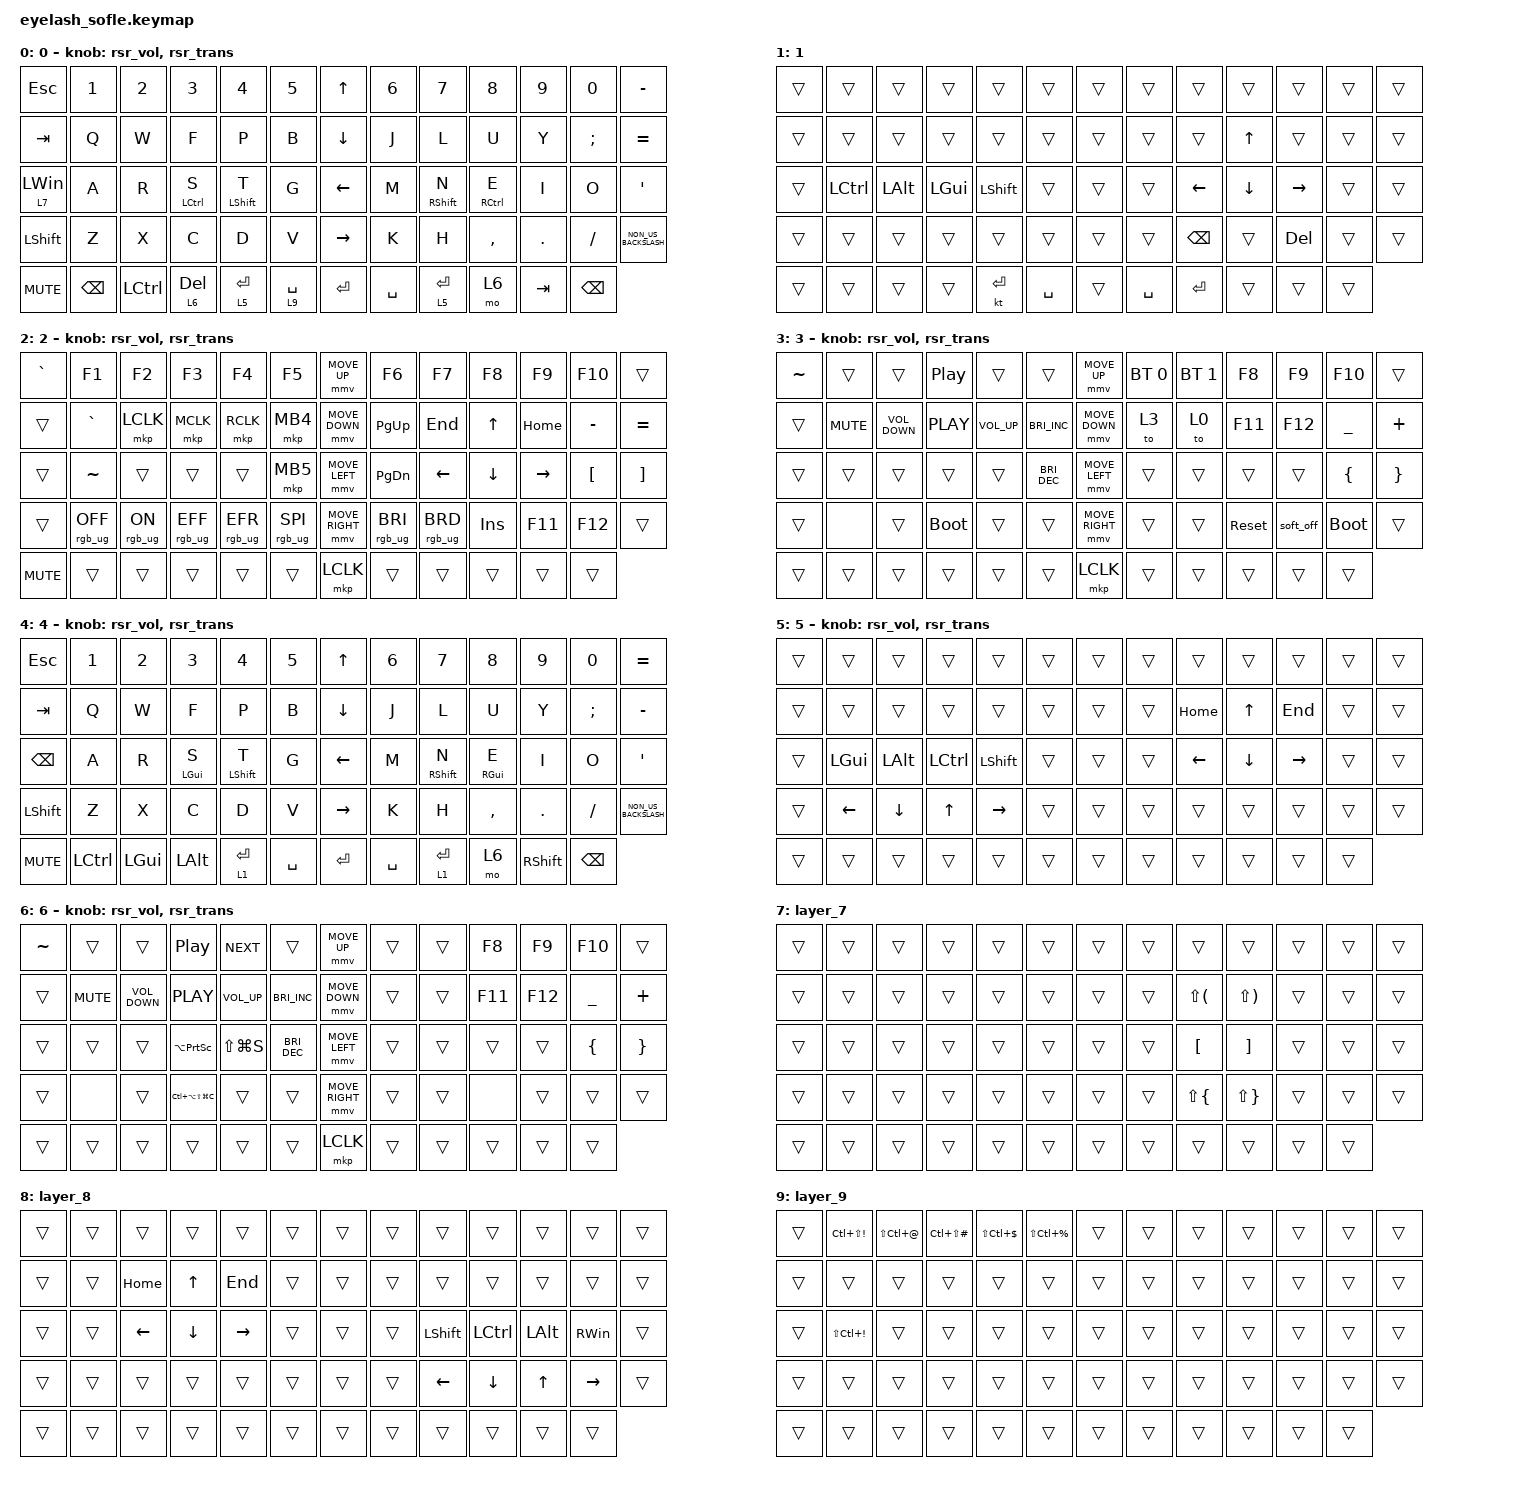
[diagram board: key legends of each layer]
#define ZMK_POINTING_DEFAULT_MOVE_VAL 1200  // 600
#define ZMK_POINTING_DEFAULT_SCRL_VAL 25   // 10

#include <input/processors.dtsi>
#include <zephyr/dt-bindings/input/input-event-codes.h>
#include <behaviors/runtime-sensor-rotate.dtsi>
#include <behaviors.dtsi>
#include <dt-bindings/zmk/bt.h>
#include <dt-bindings/zmk/keys.h>
#include <dt-bindings/zmk/pointing.h>
#include <dt-bindings/zmk/rgb.h>

&mmv_input_listener { input-processors = <&zip_xy_scaler 2 1>; };

&msc_input_listener { input-processors = <&zip_scroll_scaler 2 1>; };

&msc {
    acceleration-exponent = <1>;      // 0
    time-to-max-speed-ms = <100>;       // 300
    delay-ms = <0>;                   // 0
};

&mmv {
    time-to-max-speed-ms = <500>;
    acceleration-exponent = <1>;
    trigger-period-ms = <16>;
};

&soft_off { hold-time-ms = <2000>; };

/ {
    scroll_encoder: scroll_encoder {
        compatible = "zmk,behavior-sensor-rotate";
        #sensor-binding-cells = <0>;
        bindings = <&msc SCRL_DOWN>, <&msc SCRL_UP>;

        tap-ms = <100>;
    };

    behaviors {
        /* Timeless Left-hand Home Row Mods */

        hml: home_row_mods_left {
            compatible = "zmk,behavior-hold-tap";
            #binding-cells = <2>;
            flavor = "balanced";
            tapping-term-ms = <280>;
            quick-tap-ms = <175>;
            require-prior-idle-ms = <125>;
            bindings = <&kp>, <&kp>;

            hold-trigger-key-positions = <
                6 7 8 9 10 11 12
                19 20 21 22 23 24 25
                32 33 34 35 36 37 38
                45 46 47 48 49 50 51
                56 57 58 59 60 61
            >;

            hold-trigger-on-release;
        };

        /* Timeless Right-hand Home Row Mods */

        hmr: home_row_mods_right {
            compatible = "zmk,behavior-hold-tap";
            #binding-cells = <2>;
            flavor = "balanced";
            tapping-term-ms = <280>;
            quick-tap-ms = <175>;
            require-prior-idle-ms = <125>;
            bindings = <&kp>, <&kp>;

            hold-trigger-key-positions = <
                0 1 2 3 4 5
                13 14 15 16 17 18
                26 27 28 29 30 31
                39 40 41 42 43 44
                52 53 54 55
            >;

            hold-trigger-on-release;
        };

        rsr_vol: rsr_vol {
            compatible = "zmk,behavior-runtime-sensor-rotate";
            #sensor-binding-cells = <0>;
            tap-ms = <5>;
            cw-binding = <&kp C_VOL_UP>;
            ccw-binding = <&kp C_VOL_DN>;
        };

        rsr_trans: rsr_trans {
            compatible = "zmk,behavior-runtime-sensor-rotate";
            #sensor-binding-cells = <0>;
            tap-ms = <0>;
        };
    };

    combos {
        compatible = "zmk,combos";

        down {
            bindings = <&kp DOWN>;
            key-positions = <62 63>;
        };

        windowSwap {
            bindings = <&kp RC(LEFT_ARROW)>;
            key-positions = <15 14>;
        };

        windowSwapRight {
            bindings = <&kp RC(RIGHT_ARROW)>;
            key-positions = <17 16>;
        };

        uppler {
            bindings = <&kp UP_ARROW>;
            key-positions = <48 49>;
        };

        lefty {
            bindings = <&kp LEFT_ARROW>;
            key-positions = <47 48>;
        };

        righty {
            bindings = <&kp RIGHT_ARROW>;
            key-positions = <49 50>;
        };

        btsave {
            bindings = <&bt BT_SEL 0>;
            key-positions = <5 7>;
        };

        bt1 {
            bindings = <&bt BT_SEL 1>;
            key-positions = <18 20>;
        };

        macmode {
            bindings = <&macmode>;
            key-positions = <11 12>;
        };

        windowsmode {
            bindings = <&windowsmode>;
            key-positions = <24 25>;
        };
    };

    macros {
        macmode: macmode {
            compatible = "zmk,behavior-macro";
            #binding-cells = <0>;
            bindings = <&bt BT_SEL 0 &to 3>;
            label = "MACMODE";
        };

        windowsmode: windowsmode {
            compatible = "zmk,behavior-macro";
            #binding-cells = <0>;
            bindings = <&bt BT_SEL 1 &to 0>;
            label = "WINDOWSMODE";
        };
    };

    keymap {
        compatible = "zmk,keymap";

        layer_0 {
            display-name = "0";
            bindings = <
&kp ESC         &kp N1         &kp N2            &kp N3        &kp N4         &kp N5         &kp UP_ARROW     &kp N6     &kp N7         &kp N8        &kp N9   &kp N0         &kp MINUS
&kp TAB         &kp Q          &kp W             &kp F         &kp P          &kp B          &kp DOWN_ARROW   &kp J      &kp L          &kp U         &kp Y    &kp SEMICOLON  &kp EQUAL
&lt 7 LEFT_WIN  &kp A          &kp R             &hml LCTRL S  &hml LSHIFT T  &kp G          &kp LEFT_ARROW   &kp M      &hmr RSHIFT N  &hmr RCTRL E  &kp I    &kp O          &kp APOS
&kp LSHFT       &kp Z          &kp X             &kp C         &kp D          &kp V          &kp RIGHT_ARROW  &kp K      &kp H          &kp COMMA     &kp DOT  &kp FSLH       &kp NON_US_BACKSLASH
&kp C_MUTE      &kp BACKSPACE  &kp LEFT_CONTROL  &lt 6 DELETE  &lt 5 ENTER    &lt 9 SPACE    &kp ENTER        &kp SPACE  &lt 5 ENTER    &mo 6         &kp TAB  &kp BACKSPACE
            >;

            sensor-bindings = <&rsr_vol>, <&rsr_trans>;
        };

        layer_1 {
            bindings = <
&trans  &trans            &trans        &trans        &trans          &trans       &trans  &trans     &trans          &trans          &trans           &trans  &trans
&trans  &trans            &trans        &trans        &trans          &trans       &trans  &trans     &trans          &kp UP_ARROW    &trans           &trans  &trans
&trans  &kp LEFT_CONTROL  &kp LEFT_ALT  &kp LEFT_GUI  &kp LEFT_SHIFT  &trans       &trans  &trans     &kp LEFT_ARROW  &kp DOWN_ARROW  &kp RIGHT_ARROW  &trans  &trans
&trans  &trans            &trans        &trans        &trans          &trans       &trans  &trans     &kp BACKSPACE   &trans          &kp DELETE       &trans  &trans
&trans  &trans            &trans        &trans        &kt ENTER       &kp SPACE    &trans  &kp SPACE  &kp ENTER       &trans          &trans           &trans
            >;

            label = "1";
        };

        layer_2 {
            bindings = <
&kp GRAVE   &kp F1           &kp F2          &kp F3           &kp F4           &kp F5             &mmv MOVE_UP     &kp F6           &kp F7           &kp F8      &kp F9     &kp F10           &trans
&trans      &kp GRAVE        &mkp LCLK       &mkp MCLK        &mkp RCLK        &mkp MB4           &mmv MOVE_DOWN   &kp PG_UP        &kp END          &kp UP      &kp HOME   &kp MINUS         &kp EQUAL
&trans      &kp TILDE        &trans          &trans           &trans           &mkp MB5           &mmv MOVE_LEFT   &kp PG_DN        &kp LEFT         &kp DOWN    &kp RIGHT  &kp LEFT_BRACKET  &kp RIGHT_BRACKET
&trans      &rgb_ug RGB_OFF  &rgb_ug RGB_ON  &rgb_ug RGB_EFF  &rgb_ug RGB_EFR  &rgb_ug RGB_SPI    &mmv MOVE_RIGHT  &rgb_ug RGB_BRI  &rgb_ug RGB_BRD  &kp INSERT  &kp F11    &kp F12           &trans
&kp C_MUTE  &trans           &trans          &trans           &trans           &trans             &mkp LCLK        &trans           &trans           &trans      &trans     &trans
            >;

            sensor-bindings = <&rsr_vol &rsr_trans>;
            display-name = "2";
        };

        layer_3 {
            bindings = <
&kp TILDE  &trans      &trans             &kp C_PLAY_PAUSE  &trans           &trans                  &mmv MOVE_UP     &bt BT_SEL 0  &bt BT_SEL 1  &kp F8      &kp F9     &kp F10      &trans
&trans     &kp K_MUTE  &kp K_VOLUME_DOWN  &kp C_PLAY        &kp K_VOLUME_UP  &kp C_BRIGHTNESS_INC    &mmv MOVE_DOWN   &to 3         &to 0         &kp F11     &kp F12    &kp UNDER    &kp PLUS
&trans     &trans      &trans             &trans            &trans           &kp C_BRIGHTNESS_DEC    &mmv MOVE_LEFT   &trans        &trans        &trans      &trans     &kp LBRC     &kp RBRC
&trans     &none       &trans             &bootloader       &trans           &trans                  &mmv MOVE_RIGHT  &trans        &trans        &sys_reset  &soft_off  &bootloader  &trans
&trans     &trans      &trans             &trans            &trans           &trans                  &mkp LCLK        &trans        &trans        &trans      &trans     &trans
            >;

            display-name = "3";
            sensor-bindings = <&rsr_vol &rsr_trans>;
        };

        layer4 {
            bindings = <
&kp ESC        &kp N1     &kp N2        &kp N3        &kp N4         &kp N5       &kp UP_ARROW     &kp N6     &kp N7         &kp N8       &kp N9           &kp N0         &kp EQUAL
&kp TAB        &kp Q      &kp W         &kp F         &kp P          &kp B        &kp DOWN_ARROW   &kp J      &kp L          &kp U        &kp Y            &kp SEMICOLON  &kp MINUS
&kp BACKSPACE  &kp A      &kp R         &hml LGUI S   &hml LSHIFT T  &kp G        &kp LEFT_ARROW   &kp M      &hmr RSHIFT N  &hmr RGUI E  &kp I            &kp O          &kp APOS
&kp LSHFT      &kp Z      &kp X         &kp C         &kp D          &kp V        &kp RIGHT_ARROW  &kp K      &kp H          &kp COMMA    &kp DOT          &kp FSLH       &kp NON_US_BACKSLASH
&kp C_MUTE     &kp LCTRL  &kp LEFT_GUI  &kp LEFT_ALT  &lt 1 ENTER    &kp SPACE    &kp ENTER        &kp SPACE  &lt 1 ENTER    &mo 6        &kp RIGHT_SHIFT  &kp BACKSPACE
            >;

            sensor-bindings = <&rsr_vol &rsr_trans>;
            display-name = "4";
        };

        layer_5 {
            bindings = <
&trans  &trans        &trans        &trans     &trans          &trans    &trans  &trans  &trans          &trans        &trans     &trans  &trans
&trans  &trans        &trans        &trans     &trans          &trans    &trans  &trans  &kp HOME        &kp UP_ARROW  &kp END    &trans  &trans
&trans  &kp LEFT_GUI  &kp LEFT_ALT  &kp LCTRL  &kp LEFT_SHIFT  &trans    &trans  &trans  &kp LEFT_ARROW  &kp DOWN      &kp RIGHT  &trans  &trans
&trans  &kp LEFT      &kp DOWN      &kp UP     &kp RIGHT       &trans    &trans  &trans  &trans          &trans        &trans     &trans  &trans
&trans  &trans        &trans        &trans     &trans          &trans    &trans  &trans  &trans          &trans        &trans     &trans
            >;

            display-name = "5";
            sensor-bindings = <&rsr_vol &rsr_trans>;
        };

        layer_6 {
            display-name = "6";
            bindings = <
&kp TILDE  &trans      &trans             &kp C_PLAY_PAUSE       &kp C_NEXT     &trans                  &mmv MOVE_UP     &trans  &trans  &kp F8   &kp F9   &kp F10    &trans
&trans     &kp K_MUTE  &kp C_VOLUME_DOWN  &kp C_PLAY             &kp C_VOL_UP   &kp C_BRIGHTNESS_INC    &mmv MOVE_DOWN   &trans  &trans  &kp F11  &kp F12  &kp UNDER  &kp PLUS
&trans     &trans      &trans             &kp LA(PRINTSCREEN)    &kp LS(LG(S))  &kp C_BRIGHTNESS_DEC    &mmv MOVE_LEFT   &trans  &trans  &trans   &trans   &kp LBRC   &kp RBRC
&trans     &none       &trans             &kp LC(LA(LS(LG(C))))  &trans         &trans                  &mmv MOVE_RIGHT  &trans  &trans  &none    &trans   &trans     &trans
&trans     &trans      &trans             &trans                 &trans         &trans                  &mkp LCLK        &trans  &trans  &trans   &trans   &trans
            >;

            sensor-bindings = <&rsr_vol>, <&rsr_trans>;
        };

        layer_7 {
            bindings = <
&trans  &trans  &trans  &trans  &trans  &trans    &trans  &trans  &trans        &trans        &trans  &trans  &trans
&trans  &trans  &trans  &trans  &trans  &trans    &trans  &trans  &kp LS(LPAR)  &kp LS(RPAR)  &trans  &trans  &trans
&trans  &trans  &trans  &trans  &trans  &trans    &trans  &trans  &kp LBKT      &kp RBKT      &trans  &trans  &trans
&trans  &trans  &trans  &trans  &trans  &trans    &trans  &trans  &kp LS(LBRC)  &kp LS(RBRC)  &trans  &trans  &trans
&trans  &trans  &trans  &trans  &trans  &trans    &trans  &trans  &trans        &trans        &trans  &trans
            >;
        };

        layer_8 {
            bindings = <
&trans  &trans  &trans    &trans    &trans     &trans    &trans  &trans  &trans     &trans     &trans    &trans         &trans
&trans  &trans  &kp HOME  &kp UP    &kp END    &trans    &trans  &trans  &trans     &trans     &trans    &trans         &trans
&trans  &trans  &kp LEFT  &kp DOWN  &kp RIGHT  &trans    &trans  &trans  &kp LSHFT  &kp LCTRL  &kp LALT  &kp RIGHT_WIN  &trans
&trans  &trans  &trans    &trans    &trans     &trans    &trans  &trans  &kp LEFT   &kp DOWN   &kp UP    &kp RIGHT      &trans
&trans  &trans  &trans    &trans    &trans     &trans    &trans  &trans  &trans     &trans     &trans    &trans
            >;
        };

        layer_9 {
            bindings = <
&trans  &kp LC(LS(EXCLAMATION))  &kp LS(LC(AT_SIGN))  &kp LC(LS(POUND))  &kp LS(LC(DOLLAR))  &kp LS(LC(PERCENT))    &trans  &trans  &trans  &trans  &trans  &trans  &trans
&trans  &trans                   &trans               &trans             &trans              &trans                 &trans  &trans  &trans  &trans  &trans  &trans  &trans
&trans  &kp LS(LC(EXCLAMATION))  &trans               &trans             &trans              &trans                 &trans  &trans  &trans  &trans  &trans  &trans  &trans
&trans  &trans                   &trans               &trans             &trans              &trans                 &trans  &trans  &trans  &trans  &trans  &trans  &trans
&trans  &trans                   &trans               &trans             &trans              &trans                 &trans  &trans  &trans  &trans  &trans  &trans
            >;
        };
    };
};
